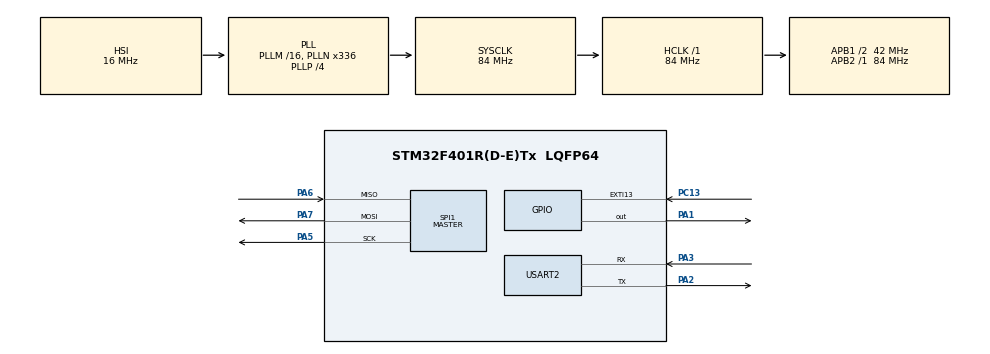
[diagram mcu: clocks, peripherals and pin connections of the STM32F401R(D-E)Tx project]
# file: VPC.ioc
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Mcu.Family=STM32F4
PC15-OSC32_OUT.Mode=LSE-External-Oscillator
PA6.Mode=Full_Duplex_Master
RCC.CortexFreq_Value=84000000
PA7.Mode=Full_Duplex_Master
SPI1.VirtualType=VM_MASTER
PC13-ANTI_TAMP.GPIO_PuPd=GPIO_PULLUP
PH1\ -\ OSC_OUT.Mode=HSE-External-Clock-Source
RCC.APB1CLKDivider=RCC_HCLK_DIV2
PC14-OSC32_IN.Signal=RCC_OSC32_IN
RCC.SYSCLKSource=RCC_SYSCLKSOURCE_PLLCLK
ProjectManager.StackSize=0x400
PA13.Signal=SYS_JTMS-SWDIO
PA3.Mode=Asynchronous
PH0\ -\ OSC_IN.Mode=HSE-External-Clock-Source
PH0\ -\ OSC_IN.Signal=RCC_OSC_IN
ProjectManager.TargetToolchain=STM32CubeIDE
SPI1.Direction=SPI_DIRECTION_2LINES
RCC.HCLKFreq_Value=84000000
RCC.APB2TimFreq_Value=84000000
PC15-OSC32_OUT.Signal=RCC_OSC32_OUT
PA1.GPIO_PuPd=GPIO_PULLDOWN
PA1.Signal=GPIO_Output
PA7.GPIO_PuPd=GPIO_NOPULL
RCC.AHBFreq_Value=84000000
NVIC.EXTI15_10_IRQn=true\:0\:0\:false\:false\:true\:true\:true
PA5.Signal=SPI1_SCK
RCC.HSE_VALUE=8000000
PH1\ -\ OSC_OUT.Signal=RCC_OSC_OUT
board=custom
PC13-ANTI_TAMP.Signal=GPXTI13
RCC.VCOOutputFreq_Value=336000000
NVIC.SPI1_IRQn=true\:0\:0\:false\:false\:true\:true\:true
RCC.APB2Freq_Value=84000000
PC14-OSC32_IN.Mode=LSE-External-Oscillator
SPI1.Mode=SPI_MODE_MASTER
PA14.Mode=Serial_Wire
PA1.GPIO_Speed=GPIO_SPEED_FREQ_HIGH
PA13.Mode=Serial_Wire
Mcu.Name=STM32F401R(D-E)Tx
PA2.Signal=USART2_TX
RCC.48MHZClocksFreq_Value=84000000
RCC.SYSCLKFreq_VALUE=84000000
Mcu.Package=LQFP64
PA6.Signal=SPI1_MISO
USART2.VirtualMode=VM_ASYNC
PA14.Signal=SYS_JTCK-SWCLK
ProjectManager.HeapSize=0x200
PA1.PinState=GPIO_PIN_SET
RCC.HSI_VALUE=16000000
RCC.PLLP=RCC_PLLP_DIV4
NVIC.PriorityGroup=NVIC_PRIORITYGROUP_0
RCC.PLLN=336
RCC.APB1TimFreq_Value=84000000
PA2.Mode=Asynchronous
RCC.APB1Freq_Value=42000000
SPI1.BaudRatePrescaler=SPI_BAUDRATEPRESCALER_256
PA3.Signal=USART2_RX
PA5.Mode=Full_Duplex_Master
PA7.Signal=SPI1_MOSI

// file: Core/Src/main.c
/* USER CODE BEGIN Header */
/**
  ******************************************************************************
  * @file           : main.c
  * @brief          : Main program body
  ******************************************************************************
  * @attention
  *
  * <h2><center>&copy; Copyright (c) 2025 STMicroelectronics.
  * All rights reserved.</center></h2>
  *
  * This software component is licensed by ST under BSD 3-Clause license,
  * the "License"; You may not use this file except in compliance with the
  * License. You may obtain a copy of the License at:
  *                        opensource.org/licenses/BSD-3-Clause
  *
  ******************************************************************************
  */
/* USER CODE END Header */

#include "main.h"
#include "stm32f4xx_hal.h"
#include "platform.h"
#include "DpAppl.h"
#include "DpCfg.h"
#include "dp_if.h"
#include <stdio.h>
#include <string.h>

/* USER CODE BEGIN PD */
#define INT_REG_H 0x03
/* USER CODE END PD */

SPI_HandleTypeDef hspi1;
UART_HandleTypeDef huart2;

void SystemClock_Config(void);
static void MX_GPIO_Init(void);
static void MX_USART2_UART_Init(void);
static void MX_SPI1_Init(void);

/* USER CODE BEGIN PFP */
void print_vpc3_registers(void);
void print_vpc3_state(void);
void debug_vpc3_reset_status(void);
void dp_isr(void);
/* USER CODE END PFP */

/* USER CODE BEGIN 0 */

// Custom printf redirection to UART
#ifdef __GNUC__
#define PUTCHAR_PROTOTYPE int __io_putchar(int ch)
#else
#define PUTCHAR_PROTOTYPE int fputc(int ch, FILE *f)
#endif

PUTCHAR_PROTOTYPE
{
    HAL_UART_Transmit(&huart2, (uint8_t *)&ch, 1, HAL_MAX_DELAY);
	return ch;
}

/* USER CODE END 0 */

int main(void)
{

	/* MCU Configuration--------------------------------------------------------*/

	/* Reset of all peripherals, Initializes the Flash interface and the Systick. */
	HAL_Init();

	/* Configure the system clock */
	SystemClock_Config();

	/* Initialize all configured peripherals */
	MX_GPIO_Init();
  MX_SPI1_Init();

  MX_USART2_UART_Init();
	MX_SPI1_Init();

	/* USER CODE BEGIN 2 */

    printf("\r\n");
    printf("==============================================================================\r\n");
    printf("    VPC3+S PROFIBUS Slave - Standard Initialization Approach\r\n");
    printf("==============================================================================\r\n");
    printf("\r\n");
    printf("Using standard DpAppl_ProfibusInit() for complete initialization\r\n");
    printf("\r\n");

    // Perform hardware reset of VPC3+S (Active-High)
    printf("Performing VPC3+S hardware reset (Active-High)...\r\n");
    VPC3_RESET_ASSERT();     // drive reset HIGH (active)
    HAL_Delay(100);          // hold reset for 100ms
    VPC3_RESET_RELEASE();    // release reset (LOW)
    HAL_Delay(500);          // allow ASIC to stabilize

    // 2. Verificar respuesta después del reset
    printf("Verificando respuesta del VPC3+ después del reset...\r\n");
    uint8_t reset_attempts = 0;
    uint8_t vpc3_responding = 0;

    // Intentar múltiples veces hasta que el VPC3+ responda
    while (reset_attempts < 10 && !vpc3_responding) {
        reset_attempts++;
        printf("Intento %d/10 de verificación post-reset...\r\n", reset_attempts);

        // Leer registros de estado
        uint8_t status_lo_check = Vpc3Read(0x04);
        uint8_t status_hi_check = Vpc3Read(0x05);

        printf("  STATUS_L: 0x%02X, STATUS_H: 0x%02X\r\n", status_lo_check, status_hi_check);

        // Verificar si el VPC3+ está respondiendo (no todos los registros en 0xFF)
        if (status_lo_check != 0xFF && status_hi_check != 0xFF) {
            printf("  ✓ VPC3+ responde correctamente en intento %d\r\n", reset_attempts);
            vpc3_responding = 1;
        } else {
            printf("  ✗ VPC3+ no responde (0xFF), esperando 200ms...\r\n");
            HAL_Delay(200); // Esperar 200ms entre intentos
        }
    }

    if (!vpc3_responding) {
        printf("ERROR: VPC3+ no responde después de 10 intentos de reset\r\n");
        printf("Verificar:\r\n");
        printf("  1. Conexiones de alimentación (VCC, GND)\r\n");
        printf("  2. Conexiones SPI (MOSI, MISO, SCK, CS)\r\n");
        printf("  3. Configuración del pin A1 en IOC\r\n");
        printf("  4. Voltaje de alimentación estable en 3.3V\r\n");

        // Continuar de todas formas para debug
        printf("Continuando con inicialización para diagnóstico...\r\n");
    } else {
        printf("✓ VPC3+ responde correctamente después del reset\r\n");
    }
    printf("Hardware reset completed.\r\n");

    // Check initial VPC3+ status after hardware reset
    printf("Reading initial VPC3+ status...\r\n");
    extern uint8_t Vpc3Read(uint16_t address);
    extern void Vpc3Write(uint16_t address, uint8_t data);

    uint8_t status_lo_initial = Vpc3Read(0x04);
    uint8_t status_hi_initial = Vpc3Read(0x05);
    printf("Status Register (hi,low): 0x%02X%02X\r\n", status_hi_initial, status_lo_initial);
    printf("\r\n");

    // Verificación de estado después del reset por software
    if (status_lo_initial == 0xFF || status_hi_initial == 0xFF) {
        printf("ADVERTENCIA: VPC3+ aún no responde correctamente después del reset por software\r\n");
        printf("Esto puede indicar un problema de configuración del pin A1 o conexiones SPI\r\n");
    }

    // Force VPC3+ to OFFLINE state before initialization
    printf("Forcing VPC3+ to OFFLINE state...\r\n");
    uint8_t status_before = Vpc3Read(0x04);
    printf("Status before GO_OFFLINE: 0x%02X\r\n", status_before);

    // SOLUCIÓN 2: Verificar que el VPC3+ responda antes de enviar comandos
    if (status_before == 0xFF) {
        printf("ERROR: VPC3+ no responde antes de GO_OFFLINE\r\n");
        printf("No se puede continuar con la inicialización\r\n");

        // Entrar en bucle infinito para debug
        printf("=== ENTERING DEBUG LOOP ===\r\n");
        while(1) {
            uint8_t debug_status = Vpc3Read(0x04);
            printf("DEBUG LOOP - STATUS_L: 0x%02X\r\n", debug_status);
            HAL_Delay(1000);
        }
    }

    // Send GO_OFFLINE command
    Vpc3Write(0x08, 0x04);  // VPC3_GO_OFFLINE command
    HAL_Delay(50);          // Wait for command to take effect (aumentado de 20ms)

    uint8_t status_after = Vpc3Read(0x04);
    printf("Status after GO_OFFLINE: 0x%02X\r\n", status_after);

    if (status_after & 0x01) {
        printf("WARNING: VPC3+ still not in OFFLINE state, trying again...\r\n");
        // Try a different approach - send RESET command first
        Vpc3Write(0x08, 0x02);  // VPC3_RESET command
        HAL_Delay(100);         // Aumentado de 50ms
        Vpc3Write(0x08, 0x04);  // VPC3_GO_OFFLINE command
        HAL_Delay(50);          // Aumentado de 20ms

        status_after = Vpc3Read(0x04);
        printf("Status after RESET+GO_OFFLINE: 0x%02X\r\n", status_after);
    }

    if (!(status_after & 0x01)) {
        printf("SUCCESS: VPC3+ is now in OFFLINE state\r\n");
    } else {
        printf("WARNING: VPC3+ still not in OFFLINE state\r\n");
        printf("Continuando de todas formas para diagnóstico...\r\n");
    }
    printf("\r\n");

    // Initialize PROFIBUS using the standard approach
    // This function handles all the required initialization steps:
    // - DpPrm_Init()    - Parameter handling initialization
    // - DpCfg_Init()    - Configuration handling initialization
    // - DpDiag_Init()   - Diagnostics initialization
    // - VPC3_MemoryTest() - Memory verification
    // - VPC3_Initialization() - VPC3 chip initialization
    // - VPC3_Start()    - Start the VPC3 chip

    printf("Initializing PROFIBUS with configuration:\r\n");
	print_vpc3_registers();
    printf("  - Slave Address: %d (0x%02X)\r\n", DP_ADDR, DP_ADDR);
    printf("  - Ident Number:  0x%04X\r\n", IDENT_NR);
    printf("  - GSD File:      cafe.gsd\r\n");
    printf("\r\n");

    DpAppl_ProfibusInit();
    printf("PROFIBUS initialization completed successfully!\r\n");
    printf("\r\n");

    // Fuerza la activación del buffer de diagnóstico
    // printf("DEBUG: Llamando a DpDiag_ResetDiagnosticBuffer() para forzar diagnóstico inicial...\r\n");
    // extern void DpDiag_ResetDiagnosticBuffer(void);
    // DpDiag_ResetDiagnosticBuffer();
    // printf("DEBUG: DpDiag_ResetDiagnosticBuffer() llamada.\r\n");

    HAL_Delay(2000);          // Wait for command to take effect and stabilize VPC3+
    // Check final VPC3+ status after complete initialization
    printf("Reading final VPC3+ status...\r\n");
	print_vpc3_registers();
    uint8_t status_lo_final = Vpc3Read(0x04);
    uint8_t status_hi_final = Vpc3Read(0x05);
    printf("Status Register (hi,low): 0x%02X%02X\r\n", status_hi_final, status_lo_final);
    printf("\r\n");

    printf("Entering main operation loop...\r\n");
    printf("The PROFIBUS slave is now ready for master communication.\r\n");
    printf("\r\n");
    printf("================= PLC CONFIGURATION REQUIRED =================\r\n");
    printf("1. Load GSD file:     cafe.gsd\r\n");
    printf("2. Set slave address: %d (0x%02X)\r\n", DP_ADDR, DP_ADDR);
    printf("3. Connect PROFIBUS cable and activate communication\r\n");
    printf("================================================================\r\n");
    printf("\r\n");

    /* USER CODE END 2 */

    /* Infinite loop */
    /* USER CODE BEGIN WHILE */
    	uint32_t last_heartbeat = 0;
    uint32_t last_debug = 0;

    // State machine for application-level status tracking
    enum AppState { APP_WAITING_CFG, APP_IN_DATA_EX };
    static enum AppState app_state = APP_WAITING_CFG;

        while (1)
        {
                /* USER CODE END WHILE */

                /* USER CODE BEGIN 3 */

        uint8_t int_reg_h = Vpc3Read(INT_REG_H);
        if (int_reg_h != 0)
        {
            printf("[INT_POLL] INT_REG_H=0x%02X -> dp_isr()\r\n", int_reg_h);
            dp_isr();
        }

        // Process PROFIBUS communication
        DpAppl_ProfibusMain();
        HAL_Delay(1);

        // Check PROFIBUS state from VPC3+
        uint8_t current_status_l = Vpc3Read(0x04);
        // Note: MASK_DP_STATE and DATA_EX come from dp_if.h
        // The state is in bits 6 and 5 of STATUS_L
        uint8_t dp_state = (current_status_l & MASK_DP_STATE) >> 5;

        // --- Application State Machine ---
        if (app_state == APP_WAITING_CFG && dp_state == DATA_EX) {
            printf("\r\n[APP_STATE_CHANGE] Entered DATA_EXCHANGE mode.\r\n\r\n");
            app_state = APP_IN_DATA_EX;
        } else if (app_state == APP_IN_DATA_EX && dp_state != DATA_EX) {
            printf("\r\n[APP_STATE_CHANGE] WARNING: Left DATA_EXCHANGE unexpectedly!\r\n");
            printf("STATUS_L is now 0x%02X, DP_STATE is %d.\r\n", current_status_l, dp_state);
            printf("Returning to wait for new configuration.\r\n\r\n");
            app_state = APP_WAITING_CFG;
        }

        // Detailed log every 5 seconds
        if (HAL_GetTick() - last_debug > 5000) {
            print_vpc3_registers();
            printf("==============================================\r\n");
            print_vpc3_state();
            printf("==============================================\r\n");

            // Añadir debug de reset si hay problemas
            uint8_t current_status_l = Vpc3Read(0x04);
            if (current_status_l == 0xFF) {
                printf("⚠️  PROBLEMA DETECTADO - Llamando debug de reset...\r\n");
                debug_vpc3_reset_status();
            }

            last_debug = HAL_GetTick();
        }

        // Heartbeat every 2 seconds
        if (HAL_GetTick() - last_heartbeat > 2000) {
            printf("[HEARTBEAT] El sistema está vivo. STATUS_L: 0x%02X\r\n", current_status_l);
            if (app_state == APP_WAITING_CFG) {
                printf("[INFO] State: Waiting for Set_Prm from master...\r\n");
            } else {
                printf("[INFO] State: DATA_EXCHANGE active.\r\n");
            }

            // *** MONITOREO DEL BUFFER DE LOG DEL ISR ***
            uint8_t available_entries = isr_log_get_available_entries();
            uint8_t overflow_flag = isr_log_has_overflow();

            if (available_entries > 0) {
                printf("[ISR_LOG] %d entradas disponibles en buffer de log\r\n", available_entries);

                // Leer y mostrar las últimas entradas del ISR
                char log_buffer[64];
                uint8_t entries_to_show = (available_entries > 5) ? 5 : available_entries;

                printf("[ISR_LOG] Últimas %d entradas del ISR:\r\n", entries_to_show);
                for (int i = 0; i < entries_to_show; i++) {
                    if (isr_log_read_entry(log_buffer, sizeof(log_buffer))) {
                        printf("[ISR_LOG] %s\r\n", log_buffer);
                    }
                }

                // Limpiar overflow si ocurrió
                if (overflow_flag) {
                    printf("[ISR_LOG] ⚠️ OVERFLOW detectado - limpiando flag\r\n");
                    isr_log_clear_overflow();
                }
            } else {
                printf("[ISR_LOG] No hay entradas en buffer de log\r\n");
            }

            last_heartbeat = HAL_GetTick();
        }
	}
	/* USER CODE END 3 */
}

void SystemClock_Config(void)
{
  RCC_OscInitTypeDef RCC_OscInitStruct = {0};
  RCC_ClkInitTypeDef RCC_ClkInitStruct = {0};

  /** Configure the main internal regulator output voltage
  */
  __HAL_RCC_PWR_CLK_ENABLE();
    __HAL_PWR_VOLTAGESCALING_CONFIG(PWR_REGULATOR_VOLTAGE_SCALE2);

  /** Initializes the RCC Oscillators according to the specified parameters
  * in the RCC_OscInitTypeDef structure.
  */
  RCC_OscInitStruct.OscillatorType = RCC_OSCILLATORTYPE_HSI;
  RCC_OscInitStruct.HSIState = RCC_HSI_ON;
  RCC_OscInitStruct.HSICalibrationValue = RCC_HSICALIBRATION_DEFAULT;
  RCC_OscInitStruct.PLL.PLLState = RCC_PLL_ON;
  RCC_OscInitStruct.PLL.PLLSource = RCC_PLLSOURCE_HSI;
  RCC_OscInitStruct.PLL.PLLM = 16;
  RCC_OscInitStruct.PLL.PLLN = 336;
  RCC_OscInitStruct.PLL.PLLP = RCC_PLLP_DIV4;
    RCC_OscInitStruct.PLL.PLLQ = 7;
  if (HAL_RCC_OscConfig(&RCC_OscInitStruct) != HAL_OK)
  {
    Error_Handler();
  }

  /** Initializes the CPU, AHB and APB buses clocks
  */
  RCC_ClkInitStruct.ClockType = RCC_CLOCKTYPE_HCLK|RCC_CLOCKTYPE_SYSCLK
                              |RCC_CLOCKTYPE_PCLK1|RCC_CLOCKTYPE_PCLK2;
  RCC_ClkInitStruct.SYSCLKSource = RCC_SYSCLKSOURCE_PLLCLK;
  RCC_ClkInitStruct.AHBCLKDivider = RCC_SYSCLK_DIV1;
  RCC_ClkInitStruct.APB1CLKDivider = RCC_HCLK_DIV2;
  RCC_ClkInitStruct.APB2CLKDivider = RCC_HCLK_DIV1;

  if (HAL_RCC_ClockConfig(&RCC_ClkInitStruct, FLASH_LATENCY_2) != HAL_OK)
  {
    Error_Handler();
  }
}

static void MX_SPI1_Init(void)
{

  /* SPI1 parameter configuration*/
  hspi1.Instance = SPI1;
  hspi1.Init.Mode = SPI_MODE_MASTER;
  hspi1.Init.Direction = SPI_DIRECTION_2LINES;
  hspi1.Init.DataSize = SPI_DATASIZE_8BIT;
  hspi1.Init.CLKPolarity = SPI_POLARITY_LOW;
  hspi1.Init.CLKPhase = SPI_PHASE_1EDGE;
  hspi1.Init.NSS = SPI_NSS_SOFT;
  hspi1.Init.BaudRatePrescaler = SPI_BAUDRATEPRESCALER_256;  // Slower for better reliability
  hspi1.Init.FirstBit = SPI_FIRSTBIT_MSB;
  hspi1.Init.TIMode = SPI_TIMODE_DISABLE;
  hspi1.Init.CRCCalculation = SPI_CRCCALCULATION_DISABLE;
  hspi1.Init.CRCPolynomial = 10;
  if (HAL_SPI_Init(&hspi1) != HAL_OK)
  {
    Error_Handler();
  }
}

static void MX_USART2_UART_Init(void)
{

  huart2.Instance = USART2;
  huart2.Init.BaudRate = 115200;
  huart2.Init.WordLength = UART_WORDLENGTH_8B;
  huart2.Init.StopBits = UART_STOPBITS_1;
  huart2.Init.Parity = UART_PARITY_NONE;
  huart2.Init.Mode = UART_MODE_TX_RX;
  huart2.Init.HwFlowCtl = UART_HWCONTROL_NONE;
  huart2.Init.OverSampling = UART_OVERSAMPLING_16;
  if (HAL_UART_Init(&huart2) != HAL_OK)
  {
    Error_Handler();
  }
}

static void MX_GPIO_Init(void)
{
  GPIO_InitTypeDef GPIO_InitStruct = {0};

  /* GPIO Ports Clock Enable */
  __HAL_RCC_GPIOC_CLK_ENABLE();
  __HAL_RCC_GPIOH_CLK_ENABLE();
  __HAL_RCC_GPIOA_CLK_ENABLE();
  __HAL_RCC_GPIOB_CLK_ENABLE();

    /*Configure GPIO pin Output Level - VPC3 CS and RESET pins */
    HAL_GPIO_WritePin(VPC3_CS_PORT, VPC3_CS_PIN, GPIO_PIN_SET);     // CS inactive (high)
    VPC3_RESET_RELEASE();                                           // RESET inactive (LOW, active-high)

    /*Configure GPIO pin : VPC3_CS_PIN */
    GPIO_InitStruct.Pin = VPC3_CS_PIN;
    GPIO_InitStruct.Mode = GPIO_MODE_OUTPUT_PP;
    GPIO_InitStruct.Pull = GPIO_NOPULL;
    GPIO_InitStruct.Speed = GPIO_SPEED_FREQ_LOW;
    HAL_GPIO_Init(VPC3_CS_PORT, &GPIO_InitStruct);

    /*Configure GPIO pin : VPC3_RESET_PIN */
    GPIO_InitStruct.Pin = VPC3_RESET_PIN;
  GPIO_InitStruct.Mode = GPIO_MODE_OUTPUT_PP;
  GPIO_InitStruct.Pull = GPIO_NOPULL;
  GPIO_InitStruct.Speed = GPIO_SPEED_FREQ_LOW;
    HAL_GPIO_Init(VPC3_RESET_PORT, &GPIO_InitStruct);

    /*Configure GPIO pin : VPC3_INT_PIN */
    GPIO_InitStruct.Pin = VPC3_INT_PIN;
    GPIO_InitStruct.Mode = GPIO_MODE_IT_FALLING;
    GPIO_InitStruct.Pull = GPIO_PULLUP;
    HAL_GPIO_Init(VPC3_INT_PORT, &GPIO_InitStruct);

  /* EXTI interrupt init*/
    HAL_NVIC_SetPriority(EXTI9_5_IRQn, 0, 0);
    HAL_NVIC_EnableIRQ(EXTI9_5_IRQn);
}

void Error_Handler(void)
{
  __disable_irq();
  while (1)
  {
  }
}

void print_vpc3_registers(void) {
    uint8_t status_lo = Vpc3Read(0x04);
    uint8_t status_hi = Vpc3Read(0x05);
    uint8_t mode_reg0_l = Vpc3Read(0x06);
    uint8_t mode_reg0_h = Vpc3Read(0x07);
    uint8_t mode_reg1   = Vpc3Read(0x15);
    uint8_t mode_reg2   = VPC3_GetModeReg2Shadow();
    uint8_t int_reg_l   = Vpc3Read(0x02);
    uint8_t int_reg_h   = Vpc3Read(0x03);
    uint8_t cfg_ptr = Vpc3Read(0x34);

    printf("VPC3+S REGISTERS:\r\n");
    printf("  STATUS_L   (0x04): 0x%02X\r\n", status_lo);
    printf("  STATUS_H   (0x05): 0x%02X\r\n", status_hi);
    printf("  MODE_REG_0_L (0x06): 0x%02X\r\n", mode_reg0_l);
    printf("  MODE_REG_0_H (0x07): 0x%02X\r\n", mode_reg0_h);
    printf("  MODE_REG_1   (0x15): 0x%02X (se actualiza automáticamente)\r\n", mode_reg1);
    printf("  MODE_REG_2   (shadow 0x0C): 0x%02X (puede cambiar según estado)\r\n", mode_reg2);
    printf("  INT_REG_L    (0x02): 0x%02X\r\n", int_reg_l);
    printf("  INT_REG_H    (0x03): 0x%02X\r\n", int_reg_h);
    printf("  CFG_PTR    (0x34): 0x%02X\r\n", cfg_ptr);
    printf("\r\n");
}

void print_vpc3_state(void) {
    uint8_t status_l = Vpc3Read(0x04);

    printf("PROFIBUS STATE: STATUS_L = 0x%02X -> ", status_l);

    switch (status_l & 0x0C) {
        case 0x00:
            if (status_l & VPC3_PASS_IDLE) {
                printf("PASSIVE_IDLE");
            } else {
                printf("OFFLINE");
            }
            break;
        case 0x04:
            printf("WAIT_PRM (waiting for parameterization)");
            break;
        case 0x08:
            printf("WAIT_CFG (waiting for configuration)");
            break;
        case 0x0C:
            printf("DATA_EX (data exchange active)");
            break;
        default:
            printf("UNKNOWN");
            break;
    }

    printf("\r\n");
}

// Nueva función de debug para diagnóstico de reset
void debug_vpc3_reset_status(void) {
    printf("=== DEBUG VPC3+ RESET STATUS ===\r\n");

    // Verificar respuesta básica del chip
    uint8_t status_l = Vpc3Read(0x04);
    uint8_t status_h = Vpc3Read(0x05);

    printf("STATUS_L (0x04): 0x%02X\r\n", status_l);
    printf("STATUS_H (0x05): 0x%02X\r\n", status_h);

    if (status_l == 0xFF && status_h == 0xFF) {
        printf("❌ PROBLEMA DETECTADO: VPC3+ no responde (0xFF en todos los registros)\r\n");
        printf("Posibles causas:\r\n");
        printf("  1. Chip no alimentado correctamente\r\n");
        printf("  2. Conexiones SPI incorrectas\r\n");
        printf("  3. Reset no funcionando\r\n");
        printf("  4. Chip defectuoso\r\n");
    } else if (status_l == 0x00 && status_h == 0xE3) {
        printf("✅ ESTADO CORRECTO: VPC3+ en OFFLINE (0x00, 0xE3)\r\n");
    } else {
        printf("⚠️  ESTADO INTERMEDIO: VPC3+ responde pero no en estado esperado\r\n");
        printf("   STATUS_L=0x%02X, STATUS_H=0x%02X\r\n", status_l, status_h);
    }

    // Verificar otros registros críticos
    uint8_t mode_reg0_l = Vpc3Read(0x06);
    uint8_t mode_reg0_h = Vpc3Read(0x07);
    uint8_t mode_reg2 = Vpc3Read(0x0C);

    printf("MODE_REG_0_L (0x06): 0x%02X\r\n", mode_reg0_l);
    printf("MODE_REG_0_H (0x07): 0x%02X\r\n", mode_reg0_h);
    printf("MODE_REG_2 (0x0C): 0x%02X\r\n", mode_reg2);

    printf("================================\r\n");
}

/************************ (C) COPYRIGHT STMicroelectronics *****END OF FILE****/
